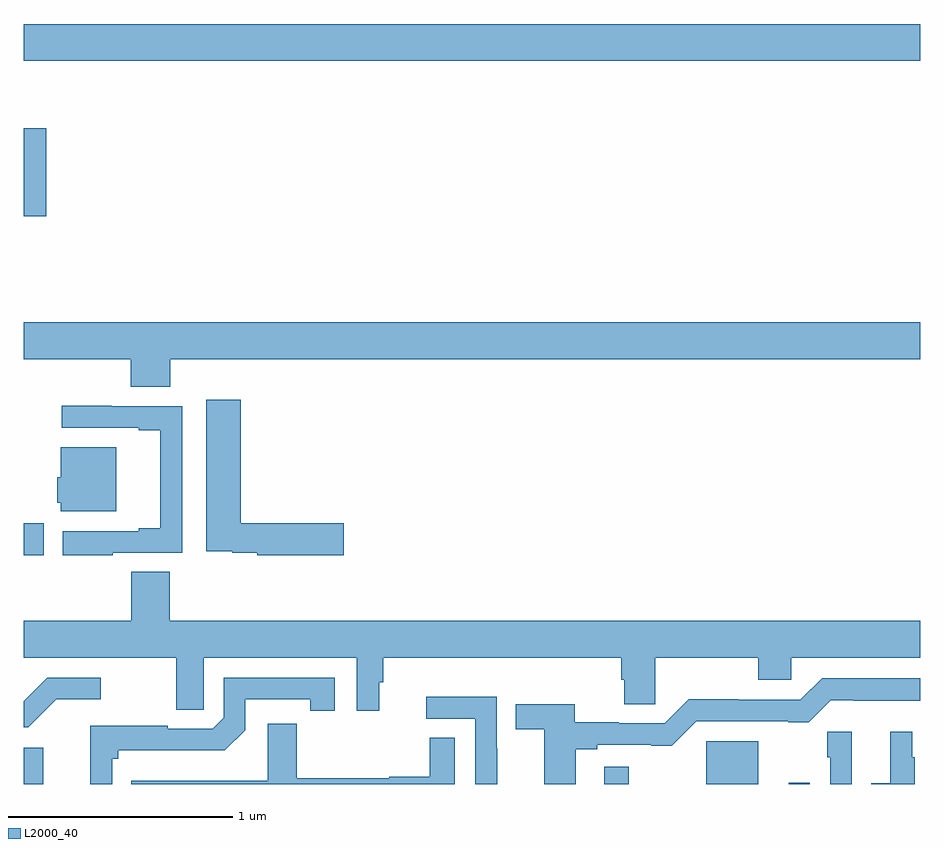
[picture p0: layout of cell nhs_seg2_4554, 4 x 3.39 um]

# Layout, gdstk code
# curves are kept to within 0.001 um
import gdstk
lib = gdstk.Library(unit=1e-6, precision=1e-09)
def R(c, l, rs):  # rectangles x0, y0, x1, y1
    for r in rs: c.add(gdstk.rectangle(r[:2], r[2:], *l))
def P(c, l, *ps):  # polygons
    for p in ps: c.add(gdstk.Polygon(p, *l))
L2000_40 = (2000, 40)

nhs_seg2_4554 = lib.new_cell('nhs_seg2_4554')
R(nhs_seg2_4554, L2000_40, [(359,585.8,359.086,585.961), (361.59,585.8,361.699,585.877), (362.045,585.8,362.278,585.991), (362.414,585.8,362.508,585.805), (359,586.822,359.088,586.964), (359,588.333,359.099,588.727), (359,589.028,363,589.192)])
P(nhs_seg2_4554, L2000_40, [(359.654,587.696),(363,587.696),(363,587.86),(359,587.86),(359,587.696),(359.477,587.696),(359.477,587.572),(359.654,587.572)],
  [(360.427,586.964),(359.969,586.964),(359.969,587.515),(359.813,587.515),(359.813,586.838),(359.93,586.838),(359.93,586.831),(360.042,586.831),(360.042,586.822),(360.427,586.822)],
  [(359.396,586.833),(359.706,586.833),(359.706,587.487),(359.393,587.487),(359.393,587.489),(359.169,587.489),(359.169,587.391),(359.513,587.391),(359.513,587.379),(359.609,587.379),(359.609,586.942),(359.513,586.942),(359.513,586.929),(359.173,586.929),(359.173,586.821),(359.396,586.821)],
  [(359.413,587.302),(359.165,587.302),(359.165,587.169),(359.15,587.169),(359.15,587.055),(359.165,587.055),(359.165,587.018),(359.413,587.018)],
  [(360.586,586.254),(360.604,586.254),(360.604,586.364),(361.667,586.364),(361.667,586.266),(361.679,586.266),(361.679,586.156),(361.818,586.156),(361.818,586.364),(362.278,586.364),(362.278,586.266),(362.424,586.266),(362.424,586.364),(363,586.364),(363,586.528),(359.651,586.528),(359.651,586.748),(359.48,586.748),(359.48,586.528),(359,586.528),(359,586.364),(359.68,586.364),(359.68,586.132),(359.802,586.132),(359.802,586.364),(360.485,586.364),(360.485,586.128),(360.586,586.128)],
  [(359.394,585.912),(359.422,585.912),(359.422,585.95),(359.897,585.95),(359.988,586.041),(359.988,586.179),(360.278,586.179),(360.278,586.128),(360.388,586.128),(360.388,586.275),(359.892,586.275),(359.892,586.095),(359.844,586.047),(359.641,586.047),(359.641,586.06),(359.297,586.06),(359.297,585.8),(359.394,585.8)],
  [(359.144,586.178),(359.344,586.178),(359.344,586.275),(359.105,586.275),(359,586.17),(359,586.053),(359.019,586.053)],
  [(361.462,585.955),(361.558,585.955),(361.558,585.975),(361.799,585.975),(361.799,585.97),(361.891,585.97),(362.001,586.08),(362.411,586.08),(362.411,586.075),(362.503,586.075),(362.601,586.173),(363,586.172),(363,586.273),(362.563,586.273),(362.466,586.176),(362.189,586.176),(362.189,586.178),(361.967,586.178),(361.86,586.071),(361.656,586.071),(361.656,586.076),(361.459,586.076),(361.459,586.156),(361.195,586.156),(361.195,586.045),(361.322,586.045),(361.322,585.8),(361.462,585.8)],
  [(361.112,585.959),(361.11,585.959),(361.11,586.189),(360.795,586.189),(360.795,586.092),(361.014,586.092),(361.014,585.8),(361.112,585.8)],
  [(360.924,586.007),(360.812,586.007),(360.812,585.833),(360.631,585.833),(360.631,585.826),(360.217,585.826),(360.217,586.069),(360.089,586.069),(360.089,585.814),(359.479,585.814),(359.479,585.8),(360.924,585.8)],
  [(362.694,586.033),(362.586,586.033),(362.586,585.92),(362.598,585.92),(362.598,585.8),(362.694,585.8)],
  [(362.977,585.92),(362.966,585.92),(362.966,586.033),(362.867,586.033),(362.867,585.804),(362.783,585.804),(362.783,585.8),(362.977,585.8)])

lib.write_gds('nhs_seg2_4554.gds')
